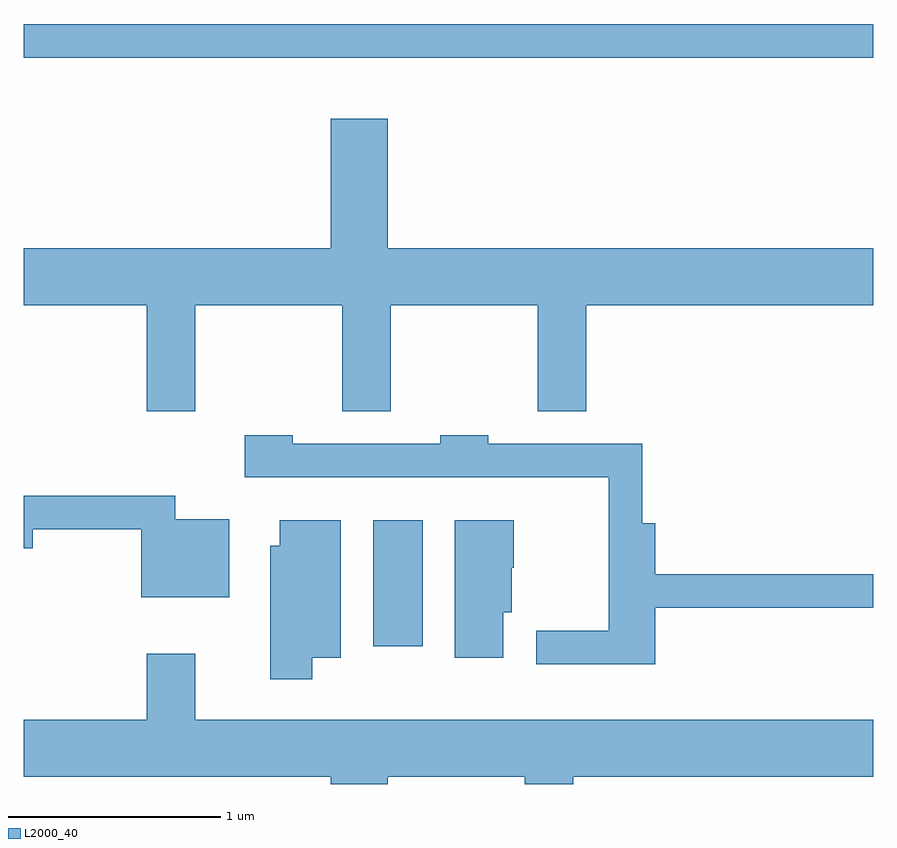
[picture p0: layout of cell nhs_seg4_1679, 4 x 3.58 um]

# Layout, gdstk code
import gdstk
lib = gdstk.Library(unit=1e-6, precision=1e-09)
def R(c, l, rs):  # rectangles x0, y0, x1, y1
    for r in rs: c.add(gdstk.rectangle(r[:2], r[2:], *l))
def P(c, l, *ps):  # polygons
    for p in ps: c.add(gdstk.Polygon(p, *l))
L2000_40 = (2000, 40)

nhs_seg4_1679 = lib.new_cell('nhs_seg4_1679')
R(nhs_seg4_1679, L2000_40, [(235.256,1348.631,235.489,1349.224), (233.611,1351.401,237.611,1351.559)])
P(nhs_seg4_1679, L2000_40, [(234.419,1350.236),(235.111,1350.236),(235.111,1349.736),(235.339,1349.736),(235.339,1350.236),(236.031,1350.236),(236.031,1349.736),(236.259,1349.736),(236.259,1350.236),(237.611,1350.236),(237.611,1350.504),(235.324,1350.504),(235.324,1351.114),(235.056,1351.114),(235.056,1350.504),(233.611,1350.504),(233.611,1350.236),(234.191,1350.236),(234.191,1349.736),(234.419,1349.736)],
  [(236.584,1348.811),(237.611,1348.811),(237.611,1348.969),(236.584,1348.969),(236.584,1349.209),(236.524,1349.209),(236.524,1349.584),(235.799,1349.584),(235.799,1349.624),(235.571,1349.624),(235.571,1349.584),(234.879,1349.584),(234.879,1349.624),(234.651,1349.624),(234.651,1349.426),(236.366,1349.426),(236.366,1348.704),(236.023,1348.704),(236.023,1348.546),(236.584,1348.546)],
  [(234.579,1349.229),(234.324,1349.229),(234.324,1349.339),(233.611,1349.339),(233.611,1349.091),(233.654,1349.091),(233.654,1349.181),(234.166,1349.181),(234.166,1348.861),(234.579,1348.861)],
  [(235.869,1348.791),(235.909,1348.791),(235.909,1349),(235.919,1349),(235.919,1349.224),(235.641,1349.224),(235.641,1348.576),(235.869,1348.576)],
  [(234.969,1348.576),(235.104,1348.576),(235.104,1349.224),(234.816,1349.224),(234.816,1349.104),(234.771,1349.104),(234.771,1348.476),(234.969,1348.476)],
  [(235.324,1348.016),(235.971,1348.016),(235.971,1347.982),(236.199,1347.982),(236.199,1348.016),(237.611,1348.016),(237.611,1348.284),(234.419,1348.284),(234.419,1348.594),(234.191,1348.594),(234.191,1348.284),(233.611,1348.284),(233.611,1348.016),(235.056,1348.016),(235.056,1347.982),(235.324,1347.982)])

lib.write_gds('nhs_seg4_1679.gds')
